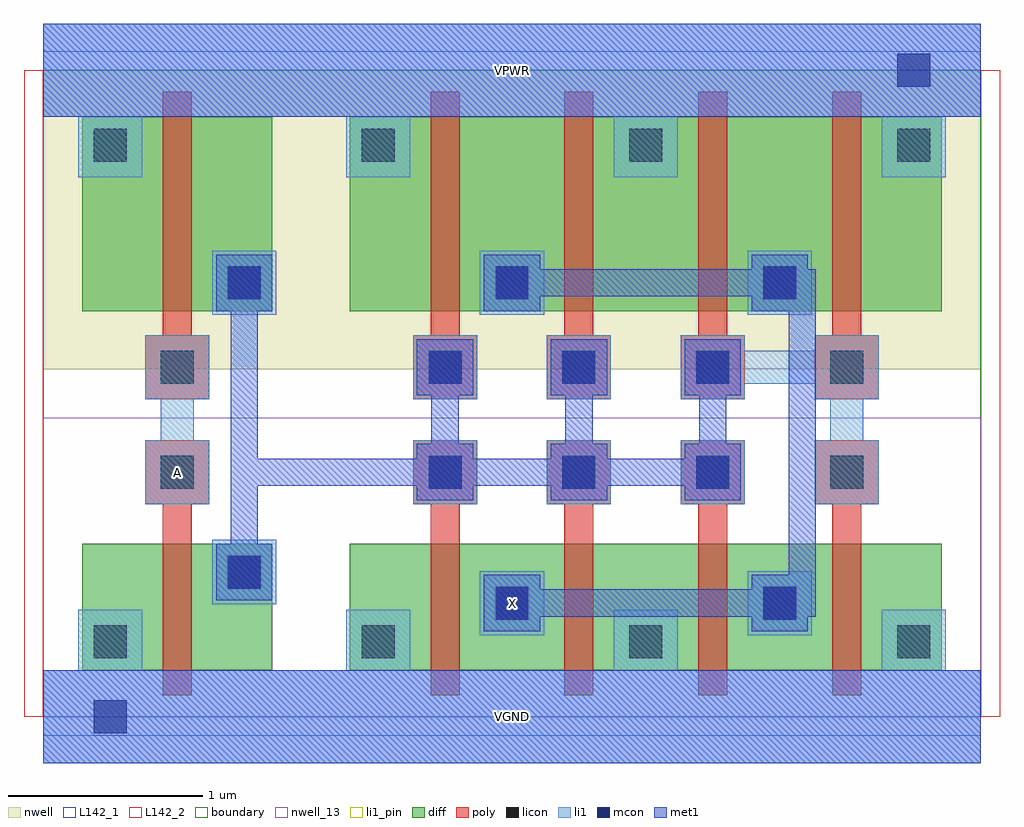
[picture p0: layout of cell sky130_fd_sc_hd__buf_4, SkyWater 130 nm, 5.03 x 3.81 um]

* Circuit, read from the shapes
.subckt sky130_fd_sc_hd__buf_4 A VGND VPWR X
XM1 n1 A VGND VSUBS sky130_fd_pr__nfet_01v8 w=0.65 l=0.15
XM2 X n1 VGND VSUBS sky130_fd_pr__nfet_01v8 w=0.65 l=0.15 m=4
XM3 n1 A VPWR n2 sky130_fd_pr__pfet_01v8 w=1 l=0.15
XM4 X n1 VPWR n2 sky130_fd_pr__pfet_01v8 w=1 l=0.15 m=4
.ends

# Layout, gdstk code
import gdstk
lib = gdstk.Library(unit=1e-6, precision=1e-09)
def R(c, l, rs):  # rectangles x0, y0, x1, y1
    for r in rs: c.add(gdstk.rectangle(r[:2], r[2:], *l))
def A(c, l, x, y, w, h, nx, ny, dx, dy):  # array of equal rectangles
    R(c, l, [(x+i*dx, y+j*dy, x+i*dx+w, y+j*dy+h) for i in range(nx) for j in range(ny)])
def P(c, l, *ps):  # polygons
    for p in ps: c.add(gdstk.Polygon(p, *l))
nwell_13 = (64, 13)
nwell = (64, 20)
diff = (65, 20)
poly = (66, 20)
licon = (66, 44)
li1_pin = (67, 16)
li1 = (67, 20)
mcon = (67, 44)
met1 = (68, 20)
L142_1 = (142, 1)
L142_2 = (142, 2)
boundary = (235, 4)

sky130_fd_sc_hd__buf_4 = lib.new_cell('sky130_fd_sc_hd__buf_4')
R(sky130_fd_sc_hd__buf_4, nwell_13, [(0,0,4.83,1.54)])
R(sky130_fd_sc_hd__buf_4, nwell, [(0,1.79,4.83,3.33)])
A(sky130_fd_sc_hd__buf_4, diff, 1.995, 0.24, 0.69, 0.65, 3, 1, 0.69, 0)
A(sky130_fd_sc_hd__buf_4, diff, 1.995, 2.09, 0.69, 1, 3, 1, 0.69, 0)
R(sky130_fd_sc_hd__buf_4, diff, [(0.2,0.24,1.18,0.89), (0.2,0.24,0.615,0.89), (0.615,0.24,1.18,0.89), (1.58,0.24,4.63,0.89), (1.58,0.24,1.995,0.89), (4.065,0.24,4.63,0.89), (0.2,2.09,1.18,3.09), (0.2,2.09,0.615,3.09), (0.615,2.09,1.18,3.09), (1.58,2.09,4.63,3.09), (1.58,2.09,1.995,3.09), (4.065,2.09,4.63,3.09)])
P(sky130_fd_sc_hd__buf_4, poly, [(0.615,0.11),(0.615,1.095),(0.525,1.095),(0.525,1.425),(0.855,1.425),(0.855,1.095),(0.765,1.095),(0.765,0.11)],
  [(0.525,1.635),(0.525,1.965),(0.615,1.965),(0.615,3.22),(0.765,3.22),(0.765,1.965),(0.855,1.965),(0.855,1.635)],
  [(1.995,0.11),(1.995,1.095),(1.905,1.095),(1.905,1.425),(2.235,1.425),(2.235,1.095),(2.145,1.095),(2.145,0.11)],
  [(2.685,0.11),(2.685,1.095),(2.595,1.095),(2.595,1.425),(2.925,1.425),(2.925,1.095),(2.835,1.095),(2.835,0.11)],
  [(3.375,0.11),(3.375,1.095),(3.285,1.095),(3.285,1.425),(3.615,1.425),(3.615,1.095),(3.525,1.095),(3.525,0.11)],
  [(4.065,0.11),(4.065,1.095),(3.975,1.095),(3.975,1.425),(4.305,1.425),(4.305,1.095),(4.215,1.095),(4.215,0.11)],
  [(1.905,1.635),(1.905,1.965),(1.995,1.965),(1.995,3.22),(2.145,3.22),(2.145,1.965),(2.235,1.965),(2.235,1.635)],
  [(2.595,1.635),(2.595,1.965),(2.685,1.965),(2.685,3.22),(2.835,3.22),(2.835,1.965),(2.925,1.965),(2.925,1.635)],
  [(3.285,1.635),(3.285,1.965),(3.375,1.965),(3.375,3.22),(3.525,3.22),(3.525,1.965),(3.615,1.965),(3.615,1.635)],
  [(3.975,1.635),(3.975,1.965),(4.065,1.965),(4.065,3.22),(4.215,3.22),(4.215,1.965),(4.305,1.965),(4.305,1.635)])
A(sky130_fd_sc_hd__buf_4, licon, 0.26, 0.3, 0.17, 0.17, 4, 2, 1.38, 2.56)
A(sky130_fd_sc_hd__buf_4, licon, 1.985, 1.175, 0.17, 0.17, 4, 2, 0.69, 0.54)
A(sky130_fd_sc_hd__buf_4, licon, 0.95, 2.15, 0.17, 0.17, 3, 1, 1.38, 0)
R(sky130_fd_sc_hd__buf_4, licon, [(2.33,0.5,2.5,0.67), (3.71,0.5,3.88,0.67), (0.95,0.66,1.12,0.83), (0.605,1.175,0.775,1.345), (0.605,1.715,0.775,1.885)])
R(sky130_fd_sc_hd__buf_4, li1_pin, [(0,-0.24,4.83,0.24), (2.25,0.42,2.58,0.75), (0,3.09,4.83,3.57)])
P(sky130_fd_sc_hd__buf_4, li1_pin, [(0.525,1.095),(0.525,1.425),(0.605,1.425),(0.605,1.635),(0.525,1.635),(0.525,1.965),(0.855,1.965),(0.855,1.635),(0.775,1.635),(0.775,1.425),(0.855,1.425),(0.855,1.095)])
A(sky130_fd_sc_hd__buf_4, li1, 1.905, 1.095, 0.33, 0.33, 3, 1, 0.69, 0)
A(sky130_fd_sc_hd__buf_4, li1, 0.87, 2.07, 0.33, 0.33, 3, 1, 1.38, 0)
R(sky130_fd_sc_hd__buf_4, li1, [(2.25,0.42,2.58,0.75), (3.63,0.42,3.96,0.75), (0.87,0.58,1.2,0.91), (1.905,1.635,2.235,1.965), (2.595,1.635,2.925,1.965)])
P(sky130_fd_sc_hd__buf_4, li1, [(0.18,2.78),(0.18,3.09),(0,3.09),(0,3.57),(4.83,3.57),(4.83,3.09),(4.65,3.09),(4.65,2.78),(4.32,2.78),(4.32,3.09),(3.27,3.09),(3.27,2.78),(2.94,2.78),(2.94,3.09),(1.89,3.09),(1.89,2.78),(1.56,2.78),(1.56,3.09),(0.51,3.09),(0.51,2.78)],
  [(0,-0.24),(0,0.24),(0.18,0.24),(0.18,0.55),(0.51,0.55),(0.51,0.24),(1.56,0.24),(1.56,0.55),(1.89,0.55),(1.89,0.24),(2.94,0.24),(2.94,0.55),(3.27,0.55),(3.27,0.24),(4.32,0.24),(4.32,0.55),(4.65,0.55),(4.65,0.24),(4.83,0.24),(4.83,-0.24)],
  [(0.525,1.095),(0.525,1.425),(0.605,1.425),(0.605,1.635),(0.525,1.635),(0.525,1.965),(0.855,1.965),(0.855,1.635),(0.775,1.635),(0.775,1.425),(0.855,1.425),(0.855,1.095)],
  [(3.975,1.095),(3.975,1.425),(4.055,1.425),(4.055,1.635),(3.975,1.635),(3.975,1.715),(3.615,1.715),(3.615,1.635),(3.285,1.635),(3.285,1.965),(3.615,1.965),(3.615,1.885),(3.975,1.885),(3.975,1.965),(4.305,1.965),(4.305,1.635),(4.225,1.635),(4.225,1.425),(4.305,1.425),(4.305,1.095)])
A(sky130_fd_sc_hd__buf_4, mcon, 1.985, 1.175, 0.17, 0.17, 3, 2, 0.69, 0.54)
A(sky130_fd_sc_hd__buf_4, mcon, 0.95, 2.15, 0.17, 0.17, 3, 1, 1.38, 0)
R(sky130_fd_sc_hd__buf_4, mcon, [(0.26,-0.085,0.43,0.085), (2.33,0.5,2.5,0.67), (3.71,0.5,3.88,0.67), (0.95,0.66,1.12,0.83), (4.4,3.245,4.57,3.415)])
R(sky130_fd_sc_hd__buf_4, met1, [(0,-0.24,4.83,0.24), (0,3.09,4.83,3.57)])
P(sky130_fd_sc_hd__buf_4, met1, [(0.89,0.6),(0.89,0.89),(0.965,0.89),(0.965,2.09),(0.89,2.09),(0.89,2.38),(1.18,2.38),(1.18,2.09),(1.105,2.09),(1.105,1.33),(1.925,1.33),(1.925,1.405),(2,1.405),(2,1.655),(1.925,1.655),(1.925,1.945),(2.215,1.945),(2.215,1.655),(2.14,1.655),(2.14,1.405),(2.215,1.405),(2.215,1.33),(2.615,1.33),(2.615,1.405),(2.69,1.405),(2.69,1.655),(2.615,1.655),(2.615,1.945),(2.905,1.945),(2.905,1.655),(2.83,1.655),(2.83,1.405),(2.905,1.405),(2.905,1.33),(3.305,1.33),(3.305,1.405),(3.38,1.405),(3.38,1.655),(3.305,1.655),(3.305,1.945),(3.595,1.945),(3.595,1.655),(3.52,1.655),(3.52,1.405),(3.595,1.405),(3.595,1.115),(3.305,1.115),(3.305,1.19),(2.905,1.19),(2.905,1.115),(2.615,1.115),(2.615,1.19),(2.215,1.19),(2.215,1.115),(1.925,1.115),(1.925,1.19),(1.105,1.19),(1.105,0.89),(1.18,0.89),(1.18,0.6)],
  [(2.27,0.44),(2.27,0.73),(2.56,0.73),(2.56,0.655),(3.65,0.655),(3.65,0.73),(3.84,0.73),(3.84,2.09),(3.65,2.09),(3.65,2.165),(2.56,2.165),(2.56,2.09),(2.27,2.09),(2.27,2.38),(2.56,2.38),(2.56,2.305),(3.65,2.305),(3.65,2.38),(3.94,2.38),(3.94,2.305),(3.98,2.305),(3.98,0.515),(3.94,0.515),(3.94,0.44),(3.65,0.44),(3.65,0.515),(2.56,0.515),(2.56,0.44)])
R(sky130_fd_sc_hd__buf_4, L142_1, [(0,-0.1,4.83,0), (0,3.33,4.83,3.43)])
R(sky130_fd_sc_hd__buf_4, L142_2, [(-0.1,0,0,3.33), (4.83,0,4.93,3.33)])
R(sky130_fd_sc_hd__buf_4, boundary, [(0,0,4.83,3.33)])
sky130_fd_sc_hd__buf_4.add(gdstk.Label('X', (2.415,0.585), layer=67, texttype=5))
sky130_fd_sc_hd__buf_4.add(gdstk.Label('A', (0.69,1.26), layer=67, texttype=5))
sky130_fd_sc_hd__buf_4.add(gdstk.Label('VGND', (2.415,0), layer=67, texttype=5))
sky130_fd_sc_hd__buf_4.add(gdstk.Label('VPWR', (2.415,3.33), layer=67, texttype=5))
sky130_fd_sc_hd__buf_4.add(gdstk.Label('VGND', (2.415,0), layer=68, texttype=5))
sky130_fd_sc_hd__buf_4.add(gdstk.Label('VPWR', (2.415,3.33), layer=68, texttype=5))

lib.write_gds('sky130_fd_sc_hd__buf_4.gds')
